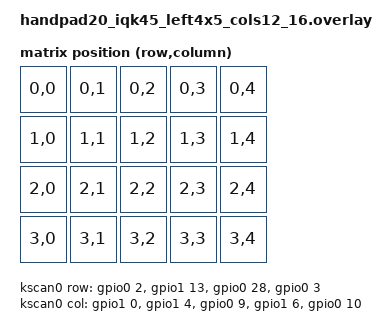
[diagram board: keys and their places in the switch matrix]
#include <dt-bindings/zmk/matrix_transform.h>

/ {
    chosen {
        zmk,kscan = &kscan0;
        zmk,matrix_transform = &default_transform;
    };

    kscan0: kscan {
        compatible = "zmk,kscan-gpio-matrix";
        label = "KSCAN";

        diode-direction = "col2row";

        /*
         * Left-side 4x5 build using the already verified five physical columns.
         * These are schematic COL12..COL16, but they are the five columns on
         * this standalone controller PCB.
         */
        col-gpios = <&gpio1 0 GPIO_ACTIVE_HIGH>,   /* physical col 1 / COL12 */
                    <&gpio1 4 GPIO_ACTIVE_HIGH>,   /* physical col 2 / COL13 */
                    <&gpio0 9 GPIO_ACTIVE_HIGH>,   /* physical col 3 / COL14 */
                    <&gpio1 6 GPIO_ACTIVE_HIGH>,   /* physical col 4 / COL15 */
                    <&gpio0 10 GPIO_ACTIVE_HIGH>;  /* physical col 5 / COL16 */

        row-gpios = <&gpio0 2 (GPIO_ACTIVE_HIGH | GPIO_PULL_DOWN)>,  /* ROW1 */
                    <&gpio1 13 (GPIO_ACTIVE_HIGH | GPIO_PULL_DOWN)>, /* ROW2 */
                    <&gpio0 28 (GPIO_ACTIVE_HIGH | GPIO_PULL_DOWN)>, /* ROW3 */
                    <&gpio0 3 (GPIO_ACTIVE_HIGH | GPIO_PULL_DOWN)>;  /* ROW4 */
    };

    default_transform: keymap_transform0 {
        compatible = "zmk,matrix-transform";
        columns = <5>;
        rows = <4>;

        map = <
            RC(0,0) RC(0,1) RC(0,2) RC(0,3) RC(0,4)
            RC(1,0) RC(1,1) RC(1,2) RC(1,3) RC(1,4)
            RC(2,0) RC(2,1) RC(2,2) RC(2,3) RC(2,4)
            RC(3,0) RC(3,1) RC(3,2) RC(3,3) RC(3,4)
        >;
    };
};
